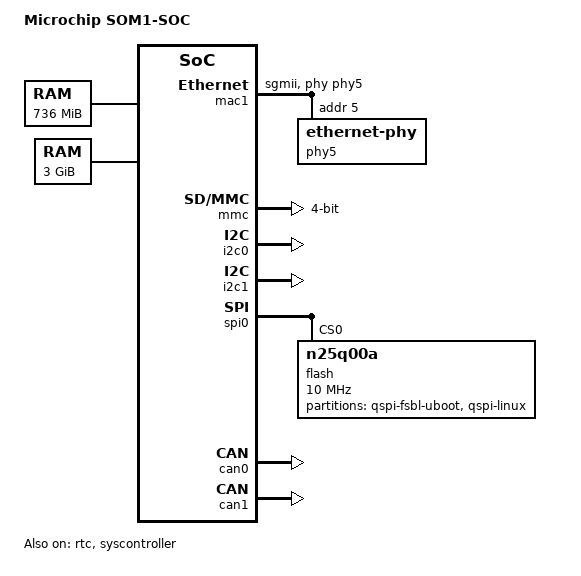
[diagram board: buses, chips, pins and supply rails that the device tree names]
// SPDX-License-Identifier: (GPL-2.0 OR MIT)
/* Copyright (c) 2020-2022 Microchip Technology Inc */

/dts-v1/;

#include "microchip/mpfs.dtsi"
#include "microchip/mpfs-polarberry-fabric.dtsi"

/* Clock frequency (in Hz) of the rtcclk */
#define MTIMER_FREQ	1000000

/ {
	model = "Microchip SOM1-SOC";
	compatible = "microchip,mpfs";

	aliases {
		ethernet0 = &mac1;
		serial0 = &mmuart0;
//		spi0 = &spi0;
//		qspi = &spi0;
	};

	chosen {
		stdout-path = "serial0:115200n8";
	};

	cpus {
		timebase-frequency = <MTIMER_FREQ>;
	};

	ddrc_cache_lo: memory@80000000 {
		device_type = "memory";
		reg = <0x0 0x80000000 0x0 0x2e000000>;
	};

	ddrc_cache_hi: memory@1000000000 {
		device_type = "memory";
		reg = <0x10 0x00000000 0x0 0xC0000000>;
	};
};

&mac0 {
	phy-mode = "sgmii";
	phy-handle = <&phy4>;
	status = "disabled";

	phy4: ethernet-phy@4 { // This PHY is connected to mac0
		reg = <4>;
	};
};

&mac1 {
	phy-mode = "sgmii";
	phy-handle = <&phy5>;
	status = "okay";

	phy5: ethernet-phy@5 { // This PHY is connected to mac1
		reg = <5>;
	};
};

&mbox {
	status = "okay";
};

&mmc {
	bus-width = <4>;
	disable-wp;
	cap-sd-highspeed;
	cap-mmc-highspeed;
	mmc-ddr-1_8v;
	mmc-hs200-1_8v;
	sd-uhs-sdr12;
	sd-uhs-sdr25;
	sd-uhs-sdr50;
	sd-uhs-sdr104;
	status = "okay";
};

&i2c0 {
	// 0x77 = SI5341A-D-GM
	status = "okay";
};

&i2c1 {
    status = "okay";
};

&spi0 {
	status = "okay";

	flash@0 {
		#address-cells = <1>;
		#size-cells = <1>;

		compatible = "n25q00a";
		reg = <0x0>;

		spi-max-frequency = <10000000>;

		spi-tx-bus-width = <1>;
		spi-rx-bus-width = <1>;

		partition@0 {
			label = "qspi-fsbl-uboot";
			reg = <0x0 0x2000000>; //32Mb
		};

		partition@2000000 {
			label = "qspi-linux";
			reg = <0x2000000 0x6000000>; //96Mb
		};
	};
};


&can0 {
	status = "okay";
};

&can1 {
	status = "okay";
};

&gpio0 {
	status = "okay";
};

&gpio1 {
	status = "okay";
};

&mmuart0 {
	status = "okay";
};

&mmuart1 {
	status = "okay";
};

&refclk {
	clock-frequency = <125000000>;
};

&rtc {
	status = "okay";
};

&syscontroller {
	status = "okay";
};
